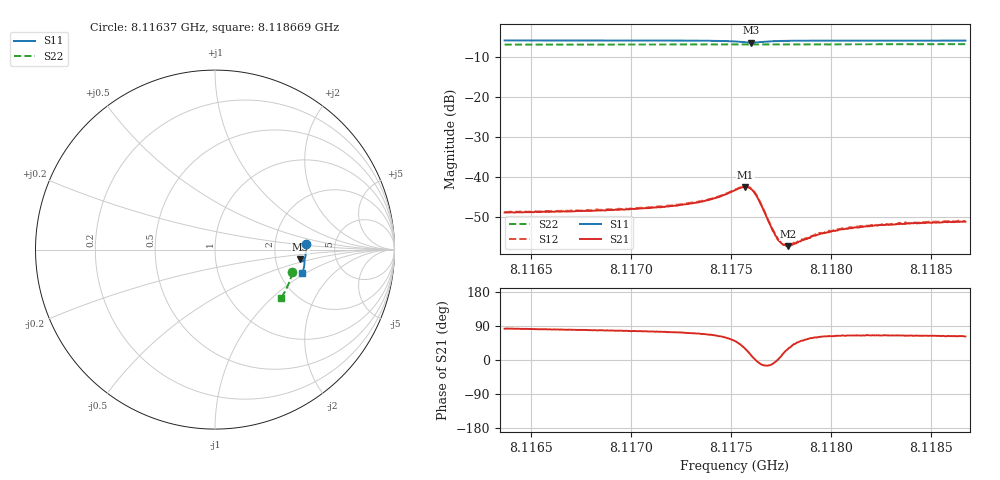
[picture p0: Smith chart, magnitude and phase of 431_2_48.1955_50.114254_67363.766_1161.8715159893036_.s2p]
#  HZ  S  RI  R  50.00
! Rohde & Schwarz Vector Network Analyzer
! Rohde-Schwarz,ZNB20-2Port,1311601062101988,3.16
! Created: UTC 3/20/2024, 11:55:20 AM
! freq[Hz]  re:S11  im:S11  re:S21  im:S21  re:S12  im:S12  re:S22  im:S22
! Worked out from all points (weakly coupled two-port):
!   401 points, 8.11637 GHz to 8.118669 GHz, reference 50 ohm
!   highest |S21| = -42.52 dB at 8.117571 GHz (marker M1); lowest = -57.4 dB at 8.117784 GHz (marker M2)
!   lowest |S11| = -6.4 dB at 8.1176 GHz (marker M3), VSWR 2.83, Z = 138 - j19.7 ohm
!   |S11| at or under -10 dB: nowhere
!   |S22| runs from -6.9 to -6.8 dB; largest |S21 - S12| = 0.00018
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8.1163696e9  0.5064 0.0312  0.000465 0.00354  0.000491 0.0036  0.4317 -0.1262
8.1167548e9  0.5067 0.00179  0.000682 0.00366  0.000757 0.00373  0.4245 -0.1519
8.1169905e9  0.5059 -0.0166  0.000901 0.00381  0.000979 0.00385  0.4192 -0.1675
8.11714e9  0.5048 -0.0286  0.00111 0.00401  0.00119 0.00407  0.4156 -0.1775
8.117209e9  0.5043 -0.0342  0.00124 0.00414  0.00132 0.00418  0.414 -0.1819
8.1173584e9  0.5016 -0.0479  0.00179 0.0046  0.0019 0.00467  0.4098 -0.1916
8.1174389e9  0.4979 -0.0562  0.00253 0.005  0.00257 0.00507  0.4074 -0.1969
8.1175194e9  0.4891 -0.0643  0.00439 0.00521  0.00452 0.00523  0.4047 -0.2021
8.1175712e9  0.4779 -0.0625  0.00652 0.00366  0.00668 0.00371  0.4027 -0.2049
8.1175999e9  0.4747 -0.055  0.00686 0.00152  0.00699 0.00152  0.4021 -0.2063
8.1176172e9  0.4763 -0.0502  0.00628 0.000258  0.00643 0.000226  0.4017 -0.2071
8.1176344e9  0.4801 -0.0469  0.00531 -0.000537  0.0054 -0.000617  0.4014 -0.2081
8.1176977e9  0.4931 -0.0498  0.00236 -0.000545  0.00241 -0.000544  0.4001 -0.2122
8.1177321e9  0.4962 -0.0542  0.00164 7.79e-06  0.0017 4.62e-05  0.3992 -0.2144
8.1177551e9  0.4975 -0.0572  0.0014 0.000355  0.00143 0.000331  0.3985 -0.216
8.1177839e9  0.4984 -0.0608  0.00119 0.000658  0.00125 0.000662  0.3976 -0.2179
8.1179046e9  0.4989 -0.0733  0.000955 0.00153  0.000973 0.00156  0.3939 -0.2255
8.1179334e9  0.4988 -0.0759  0.000934 0.00164  0.000981 0.00165  0.3928 -0.2274
8.1180426e9  0.4977 -0.0854  0.000966 0.00196  0.000964 0.002  0.3893 -0.2342
8.1181978e9  0.4956 -0.0978  0.00105 0.00221  0.00105 0.00226  0.384 -0.2438
8.1182898e9  0.4943 -0.105  0.00107 0.00228  0.0011 0.00228  0.3807 -0.2492
8.1186693e9  0.4871 -0.1331  0.00128 0.00242  0.00131 0.0025  0.3664 -0.2718
